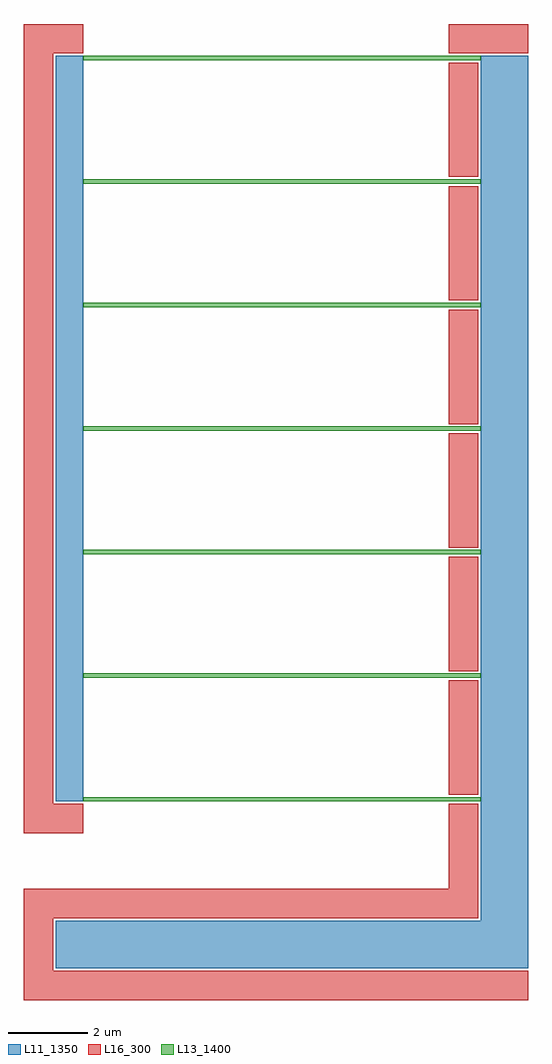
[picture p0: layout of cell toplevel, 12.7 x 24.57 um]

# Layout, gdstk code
from math import pi, radians
import gdstk
lib = gdstk.Library(unit=1e-6, precision=1e-09)
def R(c, l, rs):  # rectangles x0, y0, x1, y1
    for r in rs: c.add(gdstk.rectangle(r[:2], r[2:], *l))
def A(c, l, x, y, w, h, nx, ny, dx, dy):  # array of equal rectangles
    R(c, l, [(x+i*dx, y+j*dy, x+i*dx+w, y+j*dy+h) for i in range(nx) for j in range(ny)])
def P(c, l, *ps):  # polygons
    for p in ps: c.add(gdstk.Polygon(p, *l))
L11_1350 = (11, 1350)
L13_1400 = (13, 1400)
L16_300 = (16, 300)

rectangle014 = lib.new_cell('rectangle014')
R(rectangle014, L11_1350, [(0,0,0.7,18.77)])

arm_connector = lib.new_cell('Arm connector')
arm_connector.add(gdstk.Reference(rectangle014, (-0.7,-18.66)))

c_l = lib.new_cell('L')
P(c_l, L11_1350, [(-0.6,-0.6),(11.3,-0.6),(11.3,0.6),(0.6,0.6),(0.6,22.37),(-0.6,22.37),(-0.6,-0.6)])

right_arm_connector = lib.new_cell('Right arm connector')
right_arm_connector.add(gdstk.Reference(c_l, (10.6,-22.26), rotation=pi, x_reflection=True))

arms = lib.new_cell('Arms')
arms.add(gdstk.Reference(arm_connector, (0,0)))
arms.add(gdstk.Reference(right_arm_connector, (0,0)))

rectangle = lib.new_cell('rectangle')
R(rectangle, L13_1400, [(0,0,10,0.11)])

resistive_segment = lib.new_cell('Resistive segment')
resistive_segment.add(gdstk.Reference(rectangle, (0,0)))

rectangle003 = lib.new_cell('rectangle003')
R(rectangle003, L13_1400, [(0,0,10,0.11)])

resistive_segment002 = lib.new_cell('Resistive segment002')
resistive_segment002.add(gdstk.Reference(rectangle003, (0,-3.11)))

rectangle005 = lib.new_cell('rectangle005')
R(rectangle005, L13_1400, [(0,0,10,0.11)])

resistive_segment004 = lib.new_cell('Resistive segment004')
resistive_segment004.add(gdstk.Reference(rectangle005, (0,-6.22)))

rectangle007 = lib.new_cell('rectangle007')
R(rectangle007, L13_1400, [(0,0,10,0.11)])

resistive_segment006 = lib.new_cell('Resistive segment006')
resistive_segment006.add(gdstk.Reference(rectangle007, (0,-9.33)))

rectangle009 = lib.new_cell('rectangle009')
R(rectangle009, L13_1400, [(0,0,10,0.11)])

resistive_segment008 = lib.new_cell('Resistive segment008')
resistive_segment008.add(gdstk.Reference(rectangle009, (0,-12.44)))

rectangle011 = lib.new_cell('rectangle011')
R(rectangle011, L13_1400, [(0,0,10,0.11)])

resistive_segment010 = lib.new_cell('Resistive segment010')
resistive_segment010.add(gdstk.Reference(rectangle011, (0,-15.55)))

rectangle013 = lib.new_cell('rectangle013')
R(rectangle013, L13_1400, [(0,0,10,0.11)])

resistive_segment012 = lib.new_cell('Resistive segment012')
resistive_segment012.add(gdstk.Reference(rectangle013, (0,-18.66)))

resistive_segments = lib.new_cell('Resistive segments')
resistive_segments.add(gdstk.Reference(resistive_segment, (0,0)))
resistive_segments.add(gdstk.Reference(resistive_segment002, (0,0)))
resistive_segments.add(gdstk.Reference(resistive_segment004, (0,0)))
resistive_segments.add(gdstk.Reference(resistive_segment006, (0,0)))
resistive_segments.add(gdstk.Reference(resistive_segment008, (0,0)))
resistive_segments.add(gdstk.Reference(resistive_segment010, (0,0)))
resistive_segments.add(gdstk.Reference(resistive_segment012, (0,0)))

boolean = lib.new_cell('boolean')
P(boolean, L16_300, [(0.7,-0.06),(-0.06,-0.06),(-0.06,18.83),(0.7,18.83),(0.7,19.57),(-0.8,19.57),(-0.8,-0.8),(0.7,-0.8)])

undercut = lib.new_cell('Undercut')
undercut.add(gdstk.Reference(boolean, (-0.7,-18.66)))

boolean015 = lib.new_cell('boolean015')
A(boolean015, L16_300, 9.2, -18.49, 0.74, 2.88, 1, 6, 0, 3.11)
R(boolean015, L16_300, [(9.2,0.17,11.2,0.91)])
P(boolean015, L16_300, [(11.2,-22.92),(-0.76,-22.92),(-0.76,-21.6),(9.94,-21.6),(9.94,-18.72),(9.2,-18.72),(9.2,-20.86),(-1.5,-20.86),(-1.5,-23.66),(11.2,-23.66)])

liftoff_undercut = lib.new_cell('Liftoff undercut')
liftoff_undercut.add(gdstk.Reference(undercut, (0,0)))
liftoff_undercut.add(gdstk.Reference(boolean015, (0,0)))

toplevel = lib.new_cell('toplevel')
toplevel.add(gdstk.Reference(arms, (0,0)))
toplevel.add(gdstk.Reference(resistive_segments, (0,0)))
toplevel.add(gdstk.Reference(liftoff_undercut, (0,0)))

lib.write_gds('toplevel.gds')
